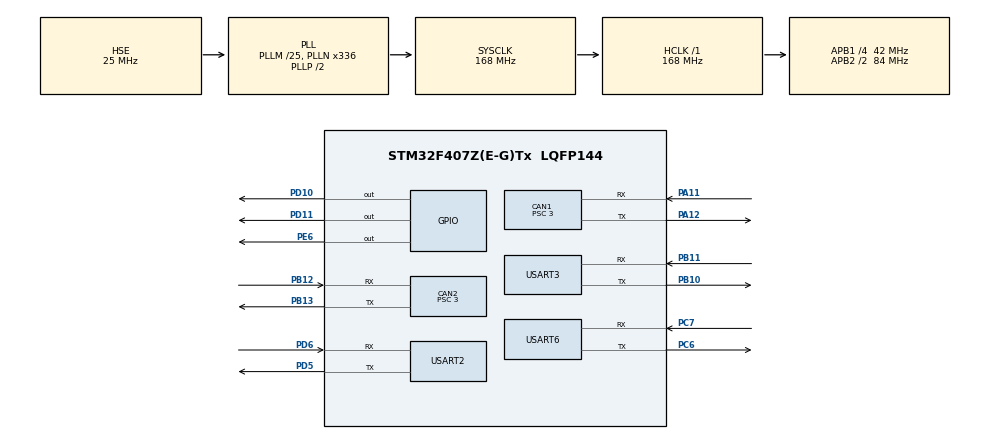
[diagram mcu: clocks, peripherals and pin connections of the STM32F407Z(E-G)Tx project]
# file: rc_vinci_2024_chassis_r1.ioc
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CAN1.BS1=CAN_BS1_10TQ
CAN1.BS2=CAN_BS2_3TQ
CAN1.CalculateBaudRate=1000000
CAN1.CalculateTimeBit=1000
CAN1.CalculateTimeQuantum=71.42857142857143
CAN1.Prescaler=3
CAN2.BS1=CAN_BS1_10TQ
CAN2.BS2=CAN_BS2_3TQ
CAN2.CalculateBaudRate=1000000
CAN2.CalculateTimeBit=1000
CAN2.CalculateTimeQuantum=71.42857142857143
CAN2.Prescaler=3
FREERTOS.Tasks01=defaultTask,0,128,StartDefaultTask,Default,NULL,Dynamic,NULL,NULL;led_task,-3,128,LedTask,As external,NULL,Dynamic,NULL,NULL;pid_cacla_Task,-3,128,PidCaclaTask,As external,NULL,Dynamic,NULL,NULL;shoot_task,-3,128,ShootTask,As external,NULL,Dynamic,NULL,NULL;grab_task,-3,128,GrabActionTask,As external,NULL,Dynamic,NULL,NULL;gimbal_task,-3,128,GimbalPostionTask,As external,NULL,Dynamic,NULL,NULL;left_qvmiao,-3,128,left_qvmiao_Task,As external,NULL,Dynamic,NULL,NULL;right_qvmiao,-3,128,right_qvmiao_Task,As external,NULL,Dynamic,NULL,NULL
Mcu.Family=STM32F4
Mcu.Name=STM32F407Z(E-G)Tx
Mcu.Package=LQFP144
NVIC.CAN1_RX0_IRQn=true\:5\:0\:false\:false\:true\:true\:true\:true\:true
NVIC.CAN2_RX0_IRQn=true\:5\:0\:false\:false\:true\:true\:true\:true\:true
NVIC.PriorityGroup=NVIC_PRIORITYGROUP_4
NVIC.USART2_IRQn=true\:5\:0\:false\:false\:true\:true\:true\:true\:true
NVIC.USART3_IRQn=true\:5\:0\:false\:false\:true\:true\:true\:true\:true
NVIC.USART6_IRQn=true\:5\:0\:false\:false\:true\:true\:true\:true\:true
PA11.Mode=CAN_Activate
PA11.Signal=CAN1_RX
PA12.Mode=CAN_Activate
PA12.Signal=CAN1_TX
PA13.Mode=Serial_Wire
PA13.Signal=SYS_JTMS-SWDIO
PA14.Mode=Serial_Wire
PA14.Signal=SYS_JTCK-SWCLK
PB10.Mode=Asynchronous
PB10.Signal=USART3_TX
PB11.Mode=Asynchronous
PB11.Signal=USART3_RX
PB12.Mode=CAN_Activate
PB12.Signal=CAN2_RX
PB13.Mode=CAN_Activate
PB13.Signal=CAN2_TX
PC6.Mode=Asynchronous
PC6.Signal=USART6_TX
PC7.Mode=Asynchronous
PC7.Signal=USART6_RX
PD10.Signal=GPIO_Output
PD11.Signal=GPIO_Output
PD5.Mode=Asynchronous
PD5.Signal=USART2_TX
PD6.Mode=Asynchronous
PD6.Signal=USART2_RX
PE6.Signal=GPIO_Output
PH0-OSC_IN.Mode=HSE-External-Oscillator
PH0-OSC_IN.Signal=RCC_OSC_IN
PH1-OSC_OUT.Mode=HSE-External-Oscillator
PH1-OSC_OUT.Signal=RCC_OSC_OUT
ProjectManager.HeapSize=0x200
ProjectManager.StackSize=0x400
ProjectManager.TargetToolchain=MDK-ARM V5.32
RCC.48MHZClocksFreq_Value=84000000
RCC.AHBFreq_Value=168000000
RCC.APB1CLKDivider=RCC_HCLK_DIV4
RCC.APB1Freq_Value=42000000
RCC.APB1TimFreq_Value=84000000
RCC.APB2CLKDivider=RCC_HCLK_DIV2
RCC.APB2Freq_Value=84000000
RCC.APB2TimFreq_Value=168000000
RCC.CortexFreq_Value=168000000
RCC.HCLKFreq_Value=168000000
RCC.HSE_VALUE=25000000
RCC.HSI_VALUE=16000000
RCC.LSE_VALUE=32768
RCC.PLLM=25
RCC.PLLN=336
RCC.PLLSourceVirtual=RCC_PLLSOURCE_HSE
RCC.SYSCLKFreq_VALUE=168000000
RCC.SYSCLKSource=RCC_SYSCLKSOURCE_PLLCLK
RCC.VCOOutputFreq_Value=336000000
USART2.VirtualMode=VM_ASYNC
USART3.VirtualMode=VM_ASYNC
USART6.VirtualMode=VM_ASYNC
VP_FREERTOS_VS_CMSIS_V1.Mode=CMSIS_V1
board=custom

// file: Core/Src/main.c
/* USER CODE BEGIN Header */
/**
  ******************************************************************************
  * @file           : main.c
  * @brief          : Main program body
  ******************************************************************************
  * @attention
  *
  * Copyright (c) 2024 STMicroelectronics.
  * All rights reserved.
  *
  * This software is licensed under terms that can be found in the LICENSE file
  * in the root directory of this software component.
  * If no LICENSE file comes with this software, it is provided AS-IS.
  *
  ******************************************************************************
  */
/* USER CODE END Header */
#include "main.h"
#include "cmsis_os.h"
#include "can.h"
#include "usart.h"
#include "gpio.h"

/* USER CODE BEGIN PTD */
//extern uint8_t ops9_buffer[1];

uint8_t rx_buf_from_Chassis[1];
/* USER CODE END PTD */

void SystemClock_Config(void);
void MX_FREERTOS_Init(void);

int main(void)
{

  /* MCU Configuration--------------------------------------------------------*/

  /* Reset of all peripherals, Initializes the Flash interface and the Systick. */
  HAL_Init();

  /* Configure the system clock */
  SystemClock_Config();

  /* Initialize all configured peripherals */
  MX_GPIO_Init();
  MX_CAN1_Init();
  MX_USART2_UART_Init();
  MX_CAN2_Init();
  MX_USART3_UART_Init();
  MX_USART6_UART_Init();
  /* USER CODE BEGIN 2 */
	CAN1_Filter_Init();

	CAN2_Filter_Init();

	CAN_Start(&hcan1);
	CAN_Start(&hcan2);

	PID_devices_Init();
	 HAL_UART_Receive_IT(&huart2, rx_buf_from_Chassis, 1);

  /* USER CODE END 2 */

  /* Call init function for freertos objects (in freertos.c) */
  MX_FREERTOS_Init();

  /* Start scheduler */
  osKernelStart();
  /* We should never get here as control is now taken by the scheduler */
  /* Infinite loop */
  while (1)
  {

  }
}

void SystemClock_Config(void)
{
  RCC_OscInitTypeDef RCC_OscInitStruct = {0};
  RCC_ClkInitTypeDef RCC_ClkInitStruct = {0};

  /** Configure the main internal regulator output voltage
  */
  __HAL_RCC_PWR_CLK_ENABLE();
  __HAL_PWR_VOLTAGESCALING_CONFIG(PWR_REGULATOR_VOLTAGE_SCALE1);

  /** Initializes the RCC Oscillators according to the specified parameters
  * in the RCC_OscInitTypeDef structure.
  */
  RCC_OscInitStruct.OscillatorType = RCC_OSCILLATORTYPE_HSE;
  RCC_OscInitStruct.HSEState = RCC_HSE_ON;
  RCC_OscInitStruct.PLL.PLLState = RCC_PLL_ON;
  RCC_OscInitStruct.PLL.PLLSource = RCC_PLLSOURCE_HSE;
  RCC_OscInitStruct.PLL.PLLM = 25;
  RCC_OscInitStruct.PLL.PLLN = 336;
  RCC_OscInitStruct.PLL.PLLP = RCC_PLLP_DIV2;
  RCC_OscInitStruct.PLL.PLLQ = 4;
  if (HAL_RCC_OscConfig(&RCC_OscInitStruct) != HAL_OK)
  {
    Error_Handler();
  }

  /** Initializes the CPU, AHB and APB buses clocks
  */
  RCC_ClkInitStruct.ClockType = RCC_CLOCKTYPE_HCLK|RCC_CLOCKTYPE_SYSCLK
                              |RCC_CLOCKTYPE_PCLK1|RCC_CLOCKTYPE_PCLK2;
  RCC_ClkInitStruct.SYSCLKSource = RCC_SYSCLKSOURCE_PLLCLK;
  RCC_ClkInitStruct.AHBCLKDivider = RCC_SYSCLK_DIV1;
  RCC_ClkInitStruct.APB1CLKDivider = RCC_HCLK_DIV4;
  RCC_ClkInitStruct.APB2CLKDivider = RCC_HCLK_DIV2;

  if (HAL_RCC_ClockConfig(&RCC_ClkInitStruct, FLASH_LATENCY_5) != HAL_OK)
  {
    Error_Handler();
  }
}

void Error_Handler(void)
{
  __disable_irq();
  while (1)
  {
  }
}

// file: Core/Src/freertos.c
/* USER CODE BEGIN Header */
/**
 ******************************************************************************
 * File Name          : freertos.c
 * Description        : Code for freertos applications
 ******************************************************************************
 * @attention
 *
 * Copyright (c) 2024 STMicroelectronics.
 * All rights reserved.
 *
 * This software is licensed under terms that can be found in the LICENSE file
 * in the root directory of this software component.
 * If no LICENSE file comes with this software, it is provided AS-IS.
 *
 ******************************************************************************
 */
/* USER CODE END Header */

#include "FreeRTOS.h"
#include "task.h"
#include "main.h"
#include "cmsis_os.h"

/* USER CODE BEGIN Includes */
extern uint8_t nrf_key[20];
/* USER CODE END Includes */

/* USER CODE BEGIN PTD */
int cnt_T = 0;
extern uint8_t cmd_speed_buf[1];
extern int target_grab_2006;
extern int left_qv_miao_2006[3];
extern int target_grab_3508;
extern int target_grab_2006;
extern int right_qv_miao_2006[3];

extern uint8_t cmd_myfromChassis;
extern uint8_t rx_datafromChassis[10];
/* USER CODE END PTD */

osThreadId defaultTaskHandle;
osThreadId led_taskHandle;
osThreadId pid_cacla_TaskHandle;
osThreadId shoot_taskHandle;
osThreadId grab_taskHandle;
osThreadId gimbal_taskHandle;
osThreadId left_qvmiaoHandle;
osThreadId right_qvmiaoHandle;

void StartDefaultTask(void const *argument);
extern void LedTask(void const *argument);
extern void PidCaclaTask(void const *argument);
extern void ShootTask(void const *argument);
extern void GrabActionTask(void const *argument);
extern void GimbalPostionTask(void const *argument);
extern void left_qvmiao_Task(void const *argument);
extern void right_qvmiao_Task(void const *argument);

void MX_FREERTOS_Init(void); /* (MISRA C 2004 rule 8.1) */

/* GetIdleTaskMemory prototype (linked to static allocation support) */
void vApplicationGetIdleTaskMemory(StaticTask_t **ppxIdleTaskTCBBuffer, StackType_t **ppxIdleTaskStackBuffer, uint32_t *pulIdleTaskStackSize);

/* USER CODE BEGIN GET_IDLE_TASK_MEMORY */
static StaticTask_t xIdleTaskTCBBuffer;
static StackType_t xIdleStack[configMINIMAL_STACK_SIZE];

void vApplicationGetIdleTaskMemory(StaticTask_t **ppxIdleTaskTCBBuffer, StackType_t **ppxIdleTaskStackBuffer, uint32_t *pulIdleTaskStackSize)
{
  *ppxIdleTaskTCBBuffer = &xIdleTaskTCBBuffer;
  *ppxIdleTaskStackBuffer = &xIdleStack[0];
  *pulIdleTaskStackSize = configMINIMAL_STACK_SIZE;
  /* place for user code */
}
/* USER CODE END GET_IDLE_TASK_MEMORY */

void MX_FREERTOS_Init(void)
{

  /* Create the thread(s) */
  /* definition and creation of defaultTask */
  osThreadDef(defaultTask, StartDefaultTask, osPriorityNormal, 0, 128);
  defaultTaskHandle = osThreadCreate(osThread(defaultTask), NULL);

  /* definition and creation of led_task */
  osThreadDef(led_task, LedTask, osPriorityIdle, 0, 128);
  led_taskHandle = osThreadCreate(osThread(led_task), NULL);

  /* definition and creation of pid_cacla_Task */
  osThreadDef(pid_cacla_Task, PidCaclaTask, osPriorityIdle, 0, 128);
  pid_cacla_TaskHandle = osThreadCreate(osThread(pid_cacla_Task), NULL);

  /* definition and creation of shoot_task */
  osThreadDef(shoot_task, ShootTask, osPriorityIdle, 0, 128);
  shoot_taskHandle = osThreadCreate(osThread(shoot_task), NULL);

  /* definition and creation of grab_task */
  osThreadDef(grab_task, GrabActionTask, osPriorityIdle, 0, 128);
  grab_taskHandle = osThreadCreate(osThread(grab_task), NULL);

  /* definition and creation of gimbal_task */
  osThreadDef(gimbal_task, GimbalPostionTask, osPriorityIdle, 0, 128);
  gimbal_taskHandle = osThreadCreate(osThread(gimbal_task), NULL);

  /* definition and creation of left_qvmiao */
  osThreadDef(left_qvmiao, left_qvmiao_Task, osPriorityIdle, 0, 128);
  left_qvmiaoHandle = osThreadCreate(osThread(left_qvmiao), NULL);

  /* definition and creation of right_qvmiao */
  osThreadDef(right_qvmiao, right_qvmiao_Task, osPriorityIdle, 0, 128);
  right_qvmiaoHandle = osThreadCreate(osThread(right_qvmiao), NULL);

}

void StartDefaultTask(void const *argument)
{
  /* USER CODE BEGIN StartDefaultTask */
  vTaskSuspend(grab_taskHandle);
  vTaskSuspend(shoot_taskHandle);
  vTaskSuspend(left_qvmiaoHandle);
  vTaskSuspend(right_qvmiaoHandle);
  osDelay(3000);

  target_grab_2006 = -19000;
  // cmd_speed_buf[0]=0;

  // vTaskSuspend(gimbal_taskHandle);
  /* Infinite loop */
  for (;;)
  {
if(cmd_myfromChassis==0x7f)
{

    if (rx_datafromChassis[0]==0x01)
    {

      osDelay(20);
      vTaskResume(grab_taskHandle);
    }
    else if (rx_datafromChassis[0]==0x02)
    {

      osDelay(20);
      vTaskResume(shoot_taskHandle);
    }
    else if (rx_datafromChassis[0]==0x03)
    {

      osDelay(20);
      vTaskResume(left_qvmiaoHandle);
    }
    else if (rx_datafromChassis[0]==0x04)
    {

      osDelay(20);
      vTaskResume(right_qvmiaoHandle);
    }
    else if (rx_datafromChassis[0]==0x05)
    {

      osDelay(20);
      static uint8_t step111 = 0;
      if (!step111)
      {
        step111++;
        for (int i = 0; i < 3; i++)
        {
          left_qv_miao_2006[i] = 30000;
          right_qv_miao_2006[i] = 30000;
        }
      }
      else
      {
        step111--;
        target_grab_3508 = -300;
        target_grab_2006 = -27500;
      }
    }

}
rx_datafromChassis[0]=0;
    osDelay(5);
  }
  /* USER CODE END StartDefaultTask */
}
